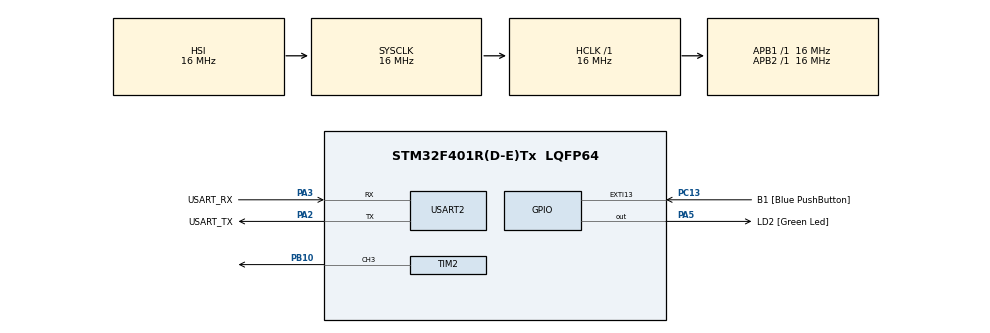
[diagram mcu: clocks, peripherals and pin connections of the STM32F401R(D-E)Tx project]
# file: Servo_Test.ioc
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Mcu.Family=STM32F4
Mcu.Name=STM32F401R(D-E)Tx
Mcu.Package=LQFP64
NVIC.PriorityGroup=NVIC_PRIORITYGROUP_0
PA0-WKUP.Signal=S_TIM2_CH1_ETR
PA13.GPIO_Label=TMS
PA13.Mode=Serial_Wire
PA13.Signal=SYS_JTMS-SWDIO
PA14.GPIO_Label=TCK
PA14.Mode=Serial_Wire
PA14.Signal=SYS_JTCK-SWCLK
PA2.GPIO_Label=USART_TX
PA2.GPIO_Mode=GPIO_MODE_AF_PP
PA2.GPIO_PuPd=GPIO_NOPULL
PA2.GPIO_Speed=GPIO_SPEED_FREQ_LOW
PA2.Mode=Asynchronous
PA2.Signal=USART2_TX
PA3.GPIO_Label=USART_RX
PA3.GPIO_Mode=GPIO_MODE_AF_PP
PA3.GPIO_PuPd=GPIO_NOPULL
PA3.GPIO_Speed=GPIO_SPEED_FREQ_LOW
PA3.Mode=Asynchronous
PA3.Signal=USART2_RX
PA5.GPIO_Label=LD2 [Green Led]
PA5.GPIO_Mode=GPIO_MODE_OUTPUT_PP
PA5.GPIO_PuPd=GPIO_NOPULL
PA5.GPIO_Speed=GPIO_SPEED_FREQ_LOW
PA5.Signal=GPIO_Output
PB10.Signal=S_TIM2_CH3
PB3.GPIO_Label=SWO
PB3.Signal=SYS_JTDO-SWO
PC13-ANTI_TAMP.GPIO_Label=B1 [Blue PushButton]
PC13-ANTI_TAMP.GPIO_ModeDefaultEXTI=GPIO_MODE_IT_FALLING
PC13-ANTI_TAMP.GPIO_PuPd=GPIO_NOPULL
PC13-ANTI_TAMP.Signal=GPXTI13
PC14-OSC32_IN.Mode=LSE-External-Oscillator
PC14-OSC32_IN.Signal=RCC_OSC32_IN
PC15-OSC32_OUT.Mode=LSE-External-Oscillator
PC15-OSC32_OUT.Signal=RCC_OSC32_OUT
PH0\ -\ OSC_IN.Mode=HSE-External-Clock-Source
PH0\ -\ OSC_IN.Signal=RCC_OSC_IN
PH1\ -\ OSC_OUT.Mode=HSE-External-Clock-Source
PH1\ -\ OSC_OUT.Signal=RCC_OSC_OUT
ProjectManager.HeapSize=0x200
ProjectManager.StackSize=0x400
ProjectManager.TargetToolchain=STM32CubeIDE
RCC.48MHZClocksFreq_Value=48000000
RCC.AHBFreq_Value=16000000
RCC.APB1Freq_Value=16000000
RCC.APB1TimFreq_Value=16000000
RCC.APB2Freq_Value=16000000
RCC.APB2TimFreq_Value=16000000
RCC.CortexFreq_Value=16000000
RCC.HCLKFreq_Value=16000000
RCC.HSE_VALUE=8000000
RCC.HSI_VALUE=16000000
RCC.PLLN=336
RCC.PLLP=RCC_PLLP_DIV4
RCC.PLLQ=7
RCC.SYSCLKFreq_VALUE=16000000
RCC.VCOOutputFreq_Value=336000000
SH.S_TIM2_CH1_ETR.0=TIM2_CH1
SH.S_TIM2_CH3.0=TIM2_CH3,PWM Generation3 CH3
TIM2.AutoReloadPreload=TIM_AUTORELOAD_PRELOAD_ENABLE
TIM2.Channel-PWM\ Generation3\ CH3=TIM_CHANNEL_3
TIM2.Period=20000-1
TIM2.Prescaler=16-1
TIM2.Pulse-PWM\ Generation3\ CH3=500-1
USART2.VirtualMode=VM_ASYNC
VP_TIM2_VS_ClockSourceINT.Mode=Internal
board=NUCLEO-F401RE

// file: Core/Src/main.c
/* USER CODE BEGIN Header */
/**
  ******************************************************************************
  * @file           : main.c
  * @brief          : Main program body
  ******************************************************************************
  * @attention
  *
  * Copyright (c) 2023 STMicroelectronics.
  * All rights reserved.
  *
  * This software is licensed under terms that can be found in the LICENSE file
  * in the root directory of this software component.
  * If no LICENSE file comes with this software, it is provided AS-IS.
  *
  ******************************************************************************
  */
/* USER CODE END Header */
#include "main.h"

TIM_HandleTypeDef htim2;

UART_HandleTypeDef huart2;

void SystemClock_Config(void);
static void MX_GPIO_Init(void);
static void MX_USART2_UART_Init(void);
static void MX_TIM2_Init(void);

int main(void)
{

  /* MCU Configuration--------------------------------------------------------*/

  /* Reset of all peripherals, Initializes the Flash interface and the Systick. */
  HAL_Init();

  /* Configure the system clock */
  SystemClock_Config();

  /* Initialize all configured peripherals */
  MX_GPIO_Init();
  MX_USART2_UART_Init();
  MX_TIM2_Init();
  /* USER CODE BEGIN 2 */
  int TIM2_Ch3_DCVAL = 500;
  int TIM2_Ch3_STEP = 50;

  HAL_TIM_Base_Start(&htim2);
  HAL_TIM_PWM_Start(&htim2, TIM_CHANNEL_3);
  TIM2->PSC = 16-1;
  TIM2->ARR = 20000-1;
  TIM2->CCR3 = TIM2_Ch3_DCVAL;
  /* USER CODE END 2 */

  /* Infinite loop */
  /* USER CODE BEGIN WHILE */
  while (1)
  {
	  while(TIM2_Ch3_DCVAL < 2500){
		  TIM2_Ch3_DCVAL += (TIM2_Ch3_STEP);
		  TIM2->CCR3 = TIM2_Ch3_DCVAL;
		  HAL_Delay(500);
	  }
	  while(TIM2_Ch3_DCVAL > 500){
	  		  TIM2_Ch3_DCVAL -= (TIM2_Ch3_STEP);
	  		  TIM2->CCR3 = TIM2_Ch3_DCVAL;
	  		  HAL_Delay(500);
	  }
    /* USER CODE END WHILE */

  }
}

void SystemClock_Config(void)
{
  RCC_OscInitTypeDef RCC_OscInitStruct = {0};
  RCC_ClkInitTypeDef RCC_ClkInitStruct = {0};

  /** Configure the main internal regulator output voltage
  */
  __HAL_RCC_PWR_CLK_ENABLE();
  __HAL_PWR_VOLTAGESCALING_CONFIG(PWR_REGULATOR_VOLTAGE_SCALE2);

  /** Initializes the RCC Oscillators according to the specified parameters
  * in the RCC_OscInitTypeDef structure.
  */
  RCC_OscInitStruct.OscillatorType = RCC_OSCILLATORTYPE_HSI;
  RCC_OscInitStruct.HSIState = RCC_HSI_ON;
  RCC_OscInitStruct.HSICalibrationValue = RCC_HSICALIBRATION_DEFAULT;
  RCC_OscInitStruct.PLL.PLLState = RCC_PLL_NONE;
  if (HAL_RCC_OscConfig(&RCC_OscInitStruct) != HAL_OK)
  {
    Error_Handler();
  }

  /** Initializes the CPU, AHB and APB buses clocks
  */
  RCC_ClkInitStruct.ClockType = RCC_CLOCKTYPE_HCLK|RCC_CLOCKTYPE_SYSCLK
                              |RCC_CLOCKTYPE_PCLK1|RCC_CLOCKTYPE_PCLK2;
  RCC_ClkInitStruct.SYSCLKSource = RCC_SYSCLKSOURCE_HSI;
  RCC_ClkInitStruct.AHBCLKDivider = RCC_SYSCLK_DIV1;
  RCC_ClkInitStruct.APB1CLKDivider = RCC_HCLK_DIV1;
  RCC_ClkInitStruct.APB2CLKDivider = RCC_HCLK_DIV1;

  if (HAL_RCC_ClockConfig(&RCC_ClkInitStruct, FLASH_LATENCY_0) != HAL_OK)
  {
    Error_Handler();
  }
}

static void MX_TIM2_Init(void)
{

  TIM_ClockConfigTypeDef sClockSourceConfig = {0};
  TIM_MasterConfigTypeDef sMasterConfig = {0};
  TIM_OC_InitTypeDef sConfigOC = {0};

  htim2.Instance = TIM2;
  htim2.Init.Prescaler = 16-1;
  htim2.Init.CounterMode = TIM_COUNTERMODE_UP;
  htim2.Init.Period = 20000-1;
  htim2.Init.ClockDivision = TIM_CLOCKDIVISION_DIV1;
  htim2.Init.AutoReloadPreload = TIM_AUTORELOAD_PRELOAD_ENABLE;
  if (HAL_TIM_Base_Init(&htim2) != HAL_OK)
  {
    Error_Handler();
  }
  sClockSourceConfig.ClockSource = TIM_CLOCKSOURCE_INTERNAL;
  if (HAL_TIM_ConfigClockSource(&htim2, &sClockSourceConfig) != HAL_OK)
  {
    Error_Handler();
  }
  if (HAL_TIM_PWM_Init(&htim2) != HAL_OK)
  {
    Error_Handler();
  }
  sMasterConfig.MasterOutputTrigger = TIM_TRGO_RESET;
  sMasterConfig.MasterSlaveMode = TIM_MASTERSLAVEMODE_DISABLE;
  if (HAL_TIMEx_MasterConfigSynchronization(&htim2, &sMasterConfig) != HAL_OK)
  {
    Error_Handler();
  }
  sConfigOC.OCMode = TIM_OCMODE_PWM1;
  sConfigOC.Pulse = 500-1;
  sConfigOC.OCPolarity = TIM_OCPOLARITY_HIGH;
  sConfigOC.OCFastMode = TIM_OCFAST_DISABLE;
  if (HAL_TIM_PWM_ConfigChannel(&htim2, &sConfigOC, TIM_CHANNEL_3) != HAL_OK)
  {
    Error_Handler();
  }
  HAL_TIM_MspPostInit(&htim2);

}

static void MX_USART2_UART_Init(void)
{

  huart2.Instance = USART2;
  huart2.Init.BaudRate = 115200;
  huart2.Init.WordLength = UART_WORDLENGTH_8B;
  huart2.Init.StopBits = UART_STOPBITS_1;
  huart2.Init.Parity = UART_PARITY_NONE;
  huart2.Init.Mode = UART_MODE_TX_RX;
  huart2.Init.HwFlowCtl = UART_HWCONTROL_NONE;
  huart2.Init.OverSampling = UART_OVERSAMPLING_16;
  if (HAL_UART_Init(&huart2) != HAL_OK)
  {
    Error_Handler();
  }

}

static void MX_GPIO_Init(void)
{
  GPIO_InitTypeDef GPIO_InitStruct = {0};

  /* GPIO Ports Clock Enable */
  __HAL_RCC_GPIOC_CLK_ENABLE();
  __HAL_RCC_GPIOH_CLK_ENABLE();
  __HAL_RCC_GPIOA_CLK_ENABLE();
  __HAL_RCC_GPIOB_CLK_ENABLE();

  /*Configure GPIO pin Output Level */
  HAL_GPIO_WritePin(LD2_GPIO_Port, LD2_Pin, GPIO_PIN_RESET);

  /*Configure GPIO pin : B1_Pin */
  GPIO_InitStruct.Pin = B1_Pin;
  GPIO_InitStruct.Mode = GPIO_MODE_IT_FALLING;
  GPIO_InitStruct.Pull = GPIO_NOPULL;
  HAL_GPIO_Init(B1_GPIO_Port, &GPIO_InitStruct);

  /*Configure GPIO pin : LD2_Pin */
  GPIO_InitStruct.Pin = LD2_Pin;
  GPIO_InitStruct.Mode = GPIO_MODE_OUTPUT_PP;
  GPIO_InitStruct.Pull = GPIO_NOPULL;
  GPIO_InitStruct.Speed = GPIO_SPEED_FREQ_LOW;
  HAL_GPIO_Init(LD2_GPIO_Port, &GPIO_InitStruct);

}

void Error_Handler(void)
{
  __disable_irq();
  while (1)
  {
  }
}
